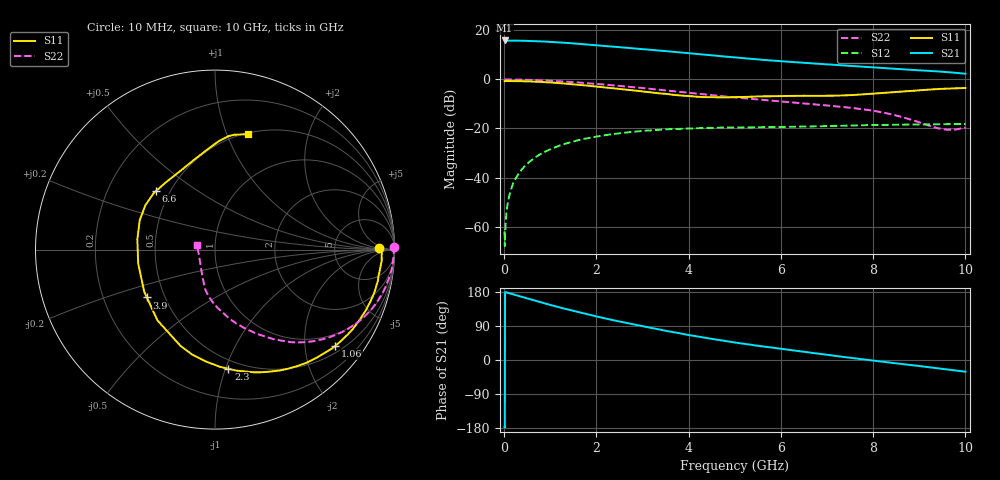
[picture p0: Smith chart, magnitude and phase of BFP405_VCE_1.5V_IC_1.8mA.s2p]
! Infineon Technologies  Discrete & RF Semiconductors
! BFP405
! VCE =  1.5 V,  IC =  1.8 mA
! Common Emitter S-Parameters:  Jan 2016
# GHz  S  MA  R  50
!  f  S11  S21  S12  S22
! GHz  MAG  ANG  MAG  ANG  MAG  ANG  MAG  ANG
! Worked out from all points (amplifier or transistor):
!   233 points, 10 MHz to 10 GHz, reference 50 ohm
!   highest |S21| = 15.9 dB at 10 MHz (marker M1)
!   |S21| within 3 dB of that: start of sweep to 2.665 GHz
!   unconditionally stable (mu >= 1): 14.66 MHz to 15.07 MHz; 4.472 GHz to end of sweep
!   at 200 MHz: K = 0.02, MSG = 29.0 dB, |S12| = -42.2 dB
!   at 1.74 GHz: K = 0.31, MSG = 19.3 dB, |S12| = -24.2 dB
!   at 10 GHz: K = 1.75, MAG = 5.2 dB, |S12| = -18.2 dB
!   S11 on the Smith chart (normalised r, x): 10 MHz: 23, +2; 1.06 GHz: 0.67, -2.71; 2.3 GHz: 0.43, -1.02; 3.9 GHz: 0.40, -0.27; 6.6 GHz: 0.42, +0.35; 10 GHz: 0.51, +1.19
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0.01  0.9164 0.4  6.219 -177.0  0.0008 -27.4  1 0.8
0.015  0.9228 -0.1  6.171 -178.9  0.0004 27.3  0.9965 0.5
0.02  0.9292 -0.6  6.131 179.1  0.0007 96.2  0.993 0.1
0.04  0.9287 -1.5  6.125 178.7  0.0016 94.3  0.9952 -0.4
0.085  0.9306 -3.1  6.155 177.0  0.0033 89.4  0.9965 -1.5
0.18  0.9265 -6.6  6.154 173.8  0.007 86.9  0.9939 -3.7
0.28  0.9234 -10.1  6.165 170.2  0.0107 84.9  0.9893 -5.6
0.68  0.8992 -24.7  6.007 156.4  0.0259 76.8  0.968 -13.6
1.06  0.8586 -38.6  5.785 143.4  0.0399 69.0  0.9324 -20.9
1.38  0.8135 -50.2  5.526 133.1  0.0507 62.5  0.8939 -26.8
1.68  0.767 -61.1  5.265 124.0  0.0598 56.7  0.8539 -31.9
2.3  0.6682 -83.6  4.707 106.8  0.0756 45.5  0.7667 -41.1
2.9  0.5831 -105.9  4.222 91.5  0.0874 36.0  0.6816 -49.3
3.4  0.5156 -124.9  3.844 79.7  0.0944 28.7  0.6104 -55.4
3.9  0.464 -144.9  3.49 68.3  0.0994 22.2  0.5445 -61.4
4.5  0.435 -169.7  3.104 55.5  0.1035 15.5  0.4764 -68.5
5.1  0.4373 169.6  2.751 44.4  0.1053 10.0  0.4215 -74.7
6.6  0.463 135.1  2.151 20.0  0.11 0.9  0.3187 -88.4
6.8  0.4621 130.5  2.085 16.8  0.1109 -0.2  0.3064 -90.3
8.4  0.5477 96.3  1.658 -7.4  0.1191 -9.7  0.1938 -109.2
9.4  0.6362 83.3  1.455 -22.0  0.1221 -15.2  0.1012 -147.5
10  0.6684 74.2  1.306 -30.9  0.1237 -17.8  0.1046 164.9
